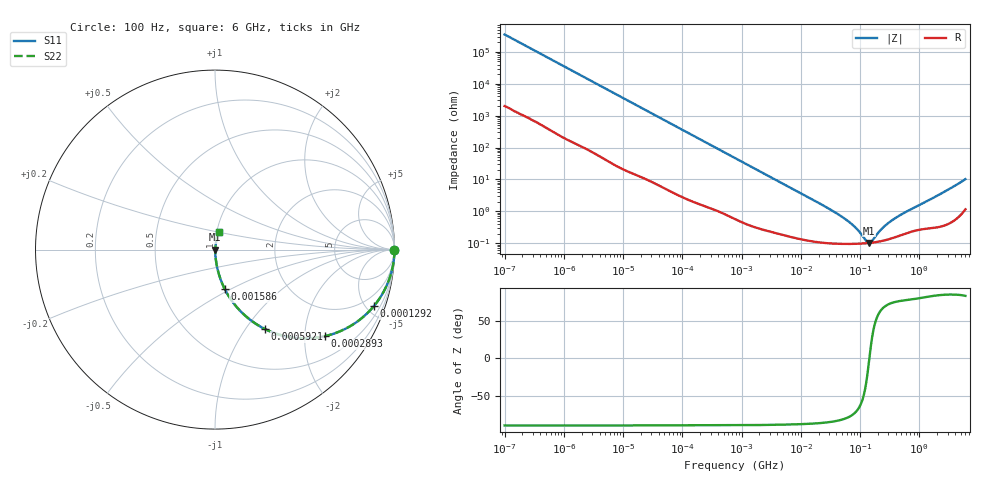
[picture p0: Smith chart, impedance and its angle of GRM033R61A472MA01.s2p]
!Murata Part Number: GRM033R61A472MA01
!These Parameters are Measured in Series Mode Connection
!Data Generated on Mar 30, 2021
!  o--ll--o
!Port1  Port2
!  o------o
!Operation Temp=25[degC], DC Bias Voltage=0[V]
!Freq. Start=100[Hz] Stop=6[GHz] 401[Steps]
# Hz S RI R 50
!Freq.(Hz) S11(Real) S11(Imag) S21(Real) S21(Imag) S12(Real) S12(Imag) S22(Real) S22(Imag)
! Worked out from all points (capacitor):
!   401 points, 100 Hz to 6 GHz, reference 50 ohm
!   read as one part in series: C = 4.52 nF near 109 Hz
!   lowest |Z| = 102 mohm at 139.6 MHz (marker M1)
!   series resonance near 143.6 MHz, so ESL is about 270 pH
!   S11 on the Smith chart (normalised r, x): 100 Hz: open; 129.2 kHz: 1.04, -5.59; 289.3 kHz: 1.03, -2.51; 592.1 kHz: 1.01, -1.23; 1.586 MHz: 1.01, -0.46; 6 GHz: 1.02, +0.20
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100  1 -0.000284  1.7e-06 0.000284  1.7e-06 0.000284  1 -0.000284
2008  0.9999 -0.00565  6.58e-05 0.00565  6.58e-05 0.00565  0.9999 -0.00565
12592  0.9986 -0.0351  0.00145 0.0351  0.00145 0.0351  0.9986 -0.0351
40335  0.9868 -0.1106  0.0132 0.1106  0.0132 0.1106  0.9868 -0.1106
129199  0.8847 -0.3154  0.1153 0.3154  0.1153 0.3154  0.8847 -0.3154
193316  0.7761 -0.4124  0.2239 0.4124  0.2239 0.4124  0.7761 -0.4124
289253  0.6104 -0.4826  0.3896 0.4826  0.3896 0.4826  0.6104 -0.4826
413847  0.4367 -0.4904  0.5633 0.4904  0.5633 0.4904  0.4367 -0.4904
592111  0.2775 -0.4419  0.7225 0.4419  0.7225 0.4419  0.2775 -0.4419
774597  0.1851 -0.3824  0.8149 0.3824  0.8149 0.3824  0.1851 -0.3824
1585629  0.0536 -0.2183  0.9464 0.2183  0.9464 0.2183  0.0536 -0.2183
4246196  0.00942 -0.086  0.9906 0.086  0.9906 0.086  0.00942 -0.086
1.555665e7  0.0017 -0.0237  0.9983 0.0237  0.9983 0.0237  0.0017 -0.0237
6.233367e7  0.000973 -0.00488  0.999 0.00488  0.999 0.00488  0.000973 -0.00488
8.527865e7  0.000965 -0.00284  0.999 0.00284  0.999 0.00284  0.000965 -0.00284
1.275994e8  0.000997 -0.000615  0.999 0.000615  0.999 0.000615  0.000997 -0.000615
1.395531e8  0.00101 -0.000148  0.999 0.000148  0.999 0.000148  0.00101 -0.000148
1.596157e8  0.00104 0.000549  0.999 -0.000549  0.999 -0.000549  0.00104 0.000549
2.283698e8  0.00117 0.00247  0.9988 -0.00247  0.9988 -0.00247  0.00117 0.00247
3.124326e8  0.00136 0.00434  0.9986 -0.00434  0.9986 -0.00434  0.00136 0.00434
5.346885e8  0.00196 0.00837  0.998 -0.00837  0.998 -0.00837  0.00196 0.00837
6e9  0.0213 0.0984  0.9787 -0.0984  0.9787 -0.0984  0.0213 0.0984
